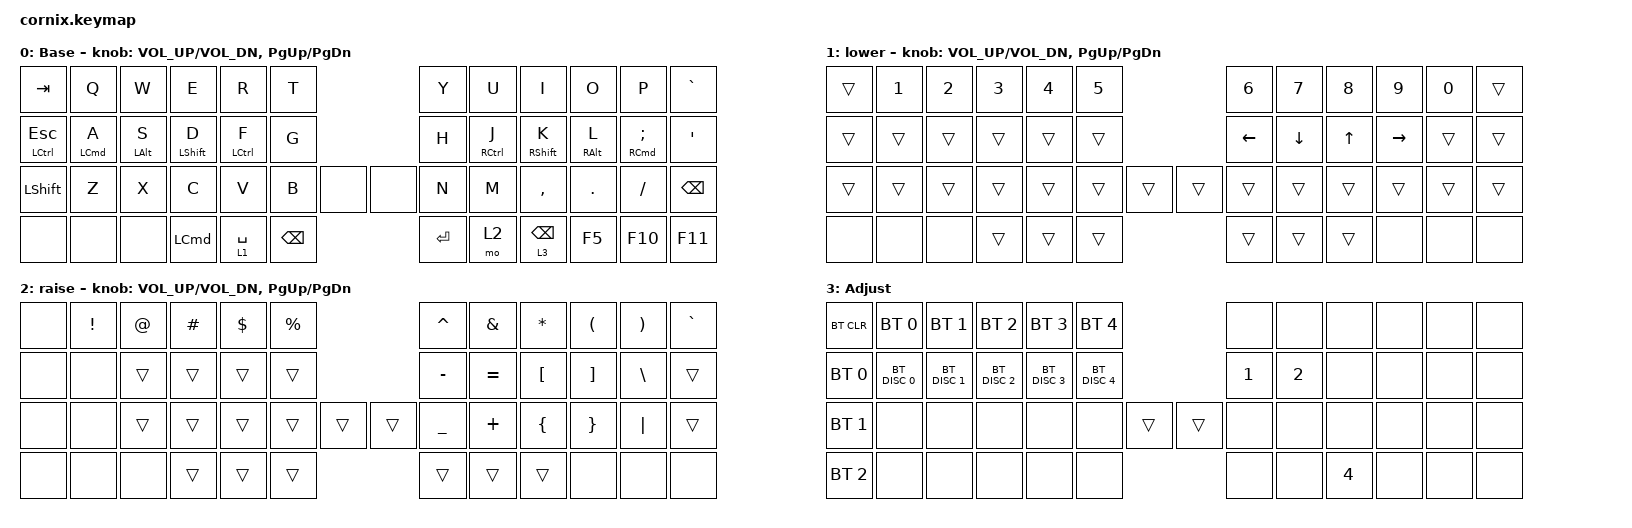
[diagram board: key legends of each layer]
/*
 * Copyright (c) 2020 The ZMK Contributors
 *
 * SPDX-License-Identifier: MIT
 */

#include "zmk-helpers/helper.h"
#include "includes/cornix54.h"

// tap windows for ctl alt and gui

#define HM_TAPPING_TERM 250
#define HM_TAPPING_REPEAT 210

// quick tapping for shift

#define HM_TAPPING_TERM_FAST 200
#define HM_PRIOR_IDLE 70
#define BASE 0
#define WIN 1
#define LOWER 2
#define RAISE 3
#define ADJUST 4
#define NAVI   5
#define NUM    6
#define DEBUG  7

// https://github.com/urob/zmk-config/tree/main#timeless-homerow-mods

#define KEYS_L LT0 LT1 LT2 LT3 LT4 LT5 LM0 LM1 LM2 LM3 LM4 LM5 LB0 LB1 LB2 LB3 LB4 LB5  // left hand
#define KEYS_R RT0 RT1 RT2 RT3 RT4 RT5 RM0 RM1 RM2 RM3 RM4 RM5 RB0 RB1 RB2 RB3 RB4 RB5  // right hand
#define THUMBS LH1 LH0 RH0 RH1
#define KEYS_T LH1 LH0 RH0 RH1
#define ZMK_POINTING_DEFAULT_SCRL_VAL 15

#include <behaviors.dtsi>
#include <dt-bindings/zmk/bt.h>
#include <dt-bindings/zmk/keys.h>

/ {
    // Activate ADJUST layer by pressing raise and lower

    behaviors {
        hm_l: homerow_mods_left {
            compatible = "zmk,behavior-hold-tap";
            #binding-cells = <2>;
            bindings = <&kp>, <&kp>;

            flavor = "balanced";
            tapping-term-ms = <140>;
            quick-tap-ms = <200>;                // repeat on tap-into-hold
            require-prior-idle-ms = <125>;
            hold-trigger-key-positions = <KEYS_R KEYS_T>;
            hold-trigger-on-release;
        };

        hm_r: homerow_mods_right {
            compatible = "zmk,behavior-hold-tap";
            #binding-cells = <2>;
            bindings = <&kp>, <&kp>;

            flavor = "balanced";
            tapping-term-ms = <140>;
            quick-tap-ms = <200>;
            require-prior-idle-ms = <125>;
            hold-trigger-key-positions = <KEYS_L KEYS_T>;
            hold-trigger-on-release;
        };

        // Positional Homerow mods for shift
        // Use faster tapping term and disable some features that may
        // cause false negatives.

        hm_shift_l: hm_shift_l {
            compatible = "zmk,behavior-hold-tap";
            #binding-cells = <2>;
            bindings = <&kp>, <&kp>;

            //flavor = "balanced";

            flavor = "balanced";
            tapping-term-ms = <160>;
            quick-tap-ms = <200>;
            require-prior-idle-ms = <125>;
            hold-trigger-key-positions = <KEYS_R KEYS_T>;
            hold-trigger-on-release;
        };

        hm_shift_r: hm_shift_r {
            compatible = "zmk,behavior-hold-tap";
            #binding-cells = <2>;
            bindings = <&kp>, <&kp>;

            flavor = "balanced";
            tapping-term-ms = <160>;
            quick-tap-ms = <200>;
            require-prior-idle-ms = <125>;
            hold-trigger-key-positions = <KEYS_L KEYS_T>;

            // for quick tapping; shift+~

            hold-trigger-on-release;
        };

        /*
         * Non-Positional Homerow Mods
         * Used for &mm_grescm_gui behavior on left hand.
         *
         * Usage: &hm LSHFT T
         * Tap: T
         * Tap-Tap-Hold: Repeat T
         * Hold: LSHIFT
         */

        hm: homerow_mods {
            compatible = "zmk,behavior-hold-tap";
            #binding-cells = <2>;
            bindings = <&kp>, <&kp>;

            flavor = "balanced";
            tapping-term-ms = <HM_TAPPING_TERM>;
            quick-tap-ms = <200>;
        };

        lt: layer_tap {
            compatible = "zmk,behavior-hold-tap";
            #binding-cells = <2>;
            bindings = <&mo>, <&kp>;

            flavor = "balanced";
            tapping-term-ms = <160>;
            quick-tap-ms = <200>;
            require-prior-idle-ms = <125>;
        };
    };

    conditional_layers { compatible = "zmk,conditional-layers"; };

    combos { compatible = "zmk,combos"; };

    macros {
        new_macro: new_macro {
            compatible = "zmk,behavior-macro";
            #binding-cells = <0>;
            bindings = <&none>;
            label = "NEW_MACRO";
        };
    };

    keymap {
        compatible = "zmk,keymap";

        default_layer {
            display-name = "Base";

            // ------------------------------------------------------------------------------------------------------------
            // |   `   |  1  |  2  |  3   |  4   |  5   |                   |  6   |  7    |  8    |  9   |   0   |       |
            // |  ESC  |  Q  |  W  |  E   |  R   |  T   |                   |  Y   |  U    |  I    |  O   |   P   | BKSPC |
            // |  TAB  |  A  |  S  |  D   |  F   |  G   |                   |  H   |  J    |  K    |  L   |   ;   |   '   |
            // | SHIFT |  Z  |  X  |  C   |  V   |  B   |  MUTE  |  |       |  N   |  M    |  ,    |  .   |   /   | SHIFT |
            //               | GUI | ALT  | CTRL | LOWER|  ENTER |  | SPACE | RAISE| CTRL  | ALT   | GUI  |

            bindings = <
&kp TAB           &kp Q         &kp W         &kp E                     &kp R          &kp T                        &kp Y      &kp U          &kp I                 &kp O         &kp P            &kp GRAVE
&mt LCTRL ESCAPE  &hm_l LCMD A  &hm_l LALT S  &hm_shift_l LEFT_SHIFT D  &hm_l LCTRL F  &kp G                        &kp H      &hm_r RCTRL J  &hm_shift_r RSHIFT K  &hm_r RALT L  &hm_r RCMD SEMI  &kp SQT
&kp LEFT_SHIFT    &kp Z         &kp X         &kp C                     &kp V          &kp B          &none  &none  &kp N      &kp M          &kp COMMA             &kp DOT       &kp FSLH         &kp BACKSPACE
&none             &none         &none         &kp LCMD                  &lt 1 SPACE    &kp BACKSPACE                &kp ENTER  &mo 2          &lt 3 BACKSPACE       &kp F5        &kp F10          &kp F11
            >;

            sensor-bindings = <&inc_dec_kp C_VOL_UP C_VOL_DN &inc_dec_kp PG_UP PG_DN>;
        };

        numbers {
            display-name = "lower";

            // ------------------------------------------------------------------------------------------------------------
            // |   `   |  1  |  2  |  3   |  4   |  5   |                   |  6   |  7    |  8    |  9   |   0   |       |
            // |  ESC  |  Q  |  W  |  E   |  R   |  T   |                   |  Y   |  U    |  I    |  O   |   P   | BKSPC |
            // |  TAB  |  A  |  S  |  D   |  F   |  G   |                   |  H   |  J    |  K    |  L   |   ;   |   '   |
            // | SHIFT |  Z  |  X  |  C   |  V   |  B   |  MUTE  |  |       |  N   |  M    |  ,    |  .   |   /   | SHIFT |
            //               | GUI | ALT  | CTRL | LOWER|  ENTER |  | SPACE | RAISE| CTRL  | ALT   | GUI  |

            bindings = <
&trans  &kp NUMBER_1  &kp NUMBER_2  &kp NUMBER_3  &kp NUMBER_4  &kp N5                  &kp NUMBER_6  &kp N7    &kp N8        &kp N9     &kp N0  &trans
&trans  &trans        &trans        &trans        &trans        &trans                  &kp LEFT      &kp DOWN  &kp UP_ARROW  &kp RIGHT  &trans  &trans
&trans  &trans        &trans        &trans        &trans        &trans  &trans  &trans  &trans        &trans    &trans        &trans     &trans  &trans
&none   &none         &none         &trans        &trans        &trans                  &trans        &trans    &trans        &none      &none   &none
            >;

            sensor-bindings = <&inc_dec_kp C_VOL_UP C_VOL_DN &inc_dec_kp PG_UP PG_DN>;
        };

        symbols {
            display-name = "raise";

            // TODO: Some binds are waiting for shifted keycode support.
            // -------------------------------
            // |       |  F1 |  F2 |  F3  |  F4  |  F5  |                   |  F6  |  F7   |  F8   |  F9  |  F10  |  F11  |
            // |   `   |  1  |  2  |  3   |  4   |  5   |                   |  6   |  7    |  8    |  9   |   0   |  F12  |
            // |       |  !  |  @  |  #   |  $   |  %   |                   |  ^   |  &    |  *    |  (   |   )   |   |   |
            // |       |  =  |  -  |  +   |  {   |  }   |        |  |       |  [   |  ]    |  ;    |  :   |   \   |       |
            //               |     |      |      |      |        |  |       |      |       |       |      |

            bindings = <
&none  &kp EXCL  &kp AT  &kp HASH  &kp DLLR  &kp PRCNT                  &kp CARET       &kp AMPS   &kp ASTRK         &kp LPAR           &kp RPAR       &kp GRAVE
&none  &none     &trans  &trans    &trans    &trans                     &kp MINUS       &kp EQUAL  &kp LEFT_BRACKET  &kp RIGHT_BRACKET  &kp BACKSLASH  &trans
&none  &none     &trans  &trans    &trans    &trans     &trans  &trans  &kp UNDERSCORE  &kp PLUS   &kp LEFT_BRACE    &kp RIGHT_BRACE    &kp PIPE       &trans
&none  &none     &none   &trans    &trans    &trans                     &trans          &trans     &trans            &none              &none          &none
            >;

            sensor-bindings = <&inc_dec_kp C_VOL_UP C_VOL_DN &inc_dec_kp PG_UP PG_DN>;
        };

        bt {
            display-name = "Adjust";

            // ----------------------------------------------------------------------------------------------------------------------------
            // | BTCLR  |  BT1    |  BT2    |   BT3   |   BT4   |   BT5   |                  |      |      |       |      |       |       |
            // | moDEBUG| RGB_HUD | RGB_HUI | RGB_SAD | RGB_SAI | RGB_EFF |                  |      |      |       |      |       |       |
            // | EXTPWR | RGB_BRD | RGB_BRI |         |         |         |                  |      |      |       |      |       |       |
            // |        |         |         |         |         |         | RGB_TOG | |      |      |      |       |      |       |       |
            //                    |         |         |         |         |         | |      |      |      |       |      |

            bindings = <
&bt BT_CLR    &bt BT_SEL 0   &bt BT_SEL 1   &bt BT_SEL 2   &bt BT_SEL 3   &bt BT_SEL 4                   &none         &none         &none   &none  &none  &none
&bt BT_SEL 0  &bt BT_DISC 0  &bt BT_DISC 1  &bt BT_DISC 2  &bt BT_DISC 3  &bt BT_DISC 4                  &kp NUMBER_1  &kp NUMBER_2  &none   &none  &none  &none
&bt BT_SEL 1  &none          &none          &none          &none          &none          &trans  &trans  &none         &none         &none   &none  &none  &none
&bt BT_SEL 2  &none          &none          &none          &none          &none                          &none         &none         &kp N4  &none  &none  &none
            >;
        };
    };
};
